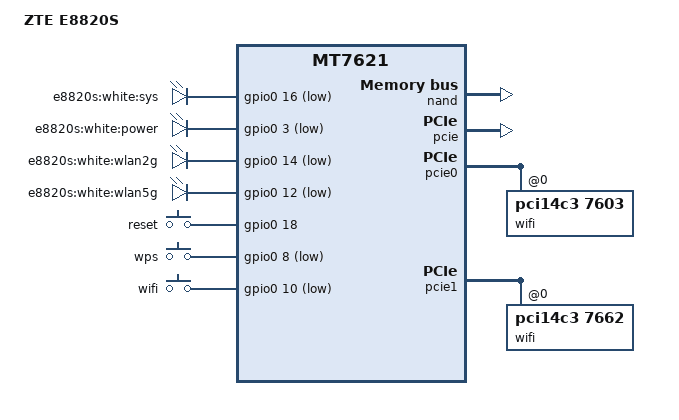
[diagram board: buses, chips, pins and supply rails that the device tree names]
/dts-v1/;

#include "mt7621.dtsi"

#include <dt-bindings/gpio/gpio.h>
#include <dt-bindings/input/input.h>

/ {
	compatible = "zte,e8820s", "mediatek,mt7621-soc";
	model = "ZTE E8820S";

	aliases {
		led-boot = &led_sys;
		led-failsafe = &led_sys;
		led-running = &led_power;
		led-upgrade = &led_power;
	};

	chosen {
		bootargs = "console=ttyS0,115200";
	};

	leds {
		compatible = "gpio-leds";

		led_sys: sys {
			label = "e8820s:white:sys";
			gpios = <&gpio0 16 GPIO_ACTIVE_LOW>;
		};

		led_power: power {
			label = "e8820s:white:power";
			gpios = <&gpio0 3 GPIO_ACTIVE_LOW>;                                       
		};

		wlan2g {
			label = "e8820s:white:wlan2g";
			gpios = <&gpio0 14 GPIO_ACTIVE_LOW>;
		};

		wlan5g {
			label = "e8820s:white:wlan5g";
			gpios = <&gpio0 12 GPIO_ACTIVE_LOW>;
		};
	};

	keys {
		compatible = "gpio-keys";

		reset {
			label = "reset";
			gpios = <&gpio0 18 GPIO_ACTIVE_HIGH>;
			linux,code = <KEY_RESTART>;
		};

		wps {
			label = "wps";
			gpios = <&gpio0 8 GPIO_ACTIVE_LOW>;
			linux,code = <KEY_WPS_BUTTON>;
		};

		wifi {
			label = "wifi";
			gpios = <&gpio0 10 GPIO_ACTIVE_LOW>;
			linux,code = <KEY_RFKILL>;
		};
	};

	ubi-concat {
		compatible = "mtd-concat";
		devices = <&ubipart0 &ubipart1>;

		partitions {
			compatible = "fixed-partitions";
			#address-cells = <1>;
			#size-cells = <1>;

			ubi@540000 {
				label = "ubi";
				reg = <0x0 0x79c0000>;
			};
		};
	};
};

&nand {
	status = "okay";

	partitions {
		compatible = "fixed-partitions";
		#address-cells = <1>;
		#size-cells = <1>;

		partition@0 {
			label = "u-boot";
			reg = <0x0 0x80000>;
			read-only;
		};

		partition@80000 {
			label = "debug";
			reg = <0x80000 0x80000>;
			read-only;
		};

		factory: partition@100000 {
			label = "factory";
			reg = <0x100000 0x40000>;
			read-only;
		};

		partition@140000 {
			label = "kernel";
			reg = <0x140000 0x400000>;
		};

		ubipart0: partition@540000 {
			label = "ubipart0";
			reg = <0x540000 0x1c80000>;
		};

		partition@21c0000 {
			label = "bdinfo";
			reg = <0x21c0000 0x80000>;
			read-only;
		};

		ubipart1: partition@2240000 {
			label = "ubipart1";
			reg = <0x2240000 0x5d40000>;
		};
	};
};

&pcie {
	status = "okay";
};

&pcie0 {
	wifi@0,0 {
		compatible = "pci14c3,7603";
		reg = <0x0000 0 0 0 0>;
		mediatek,mtd-eeprom = <&factory 0x0000>;
		ieee80211-freq-limit = <2400000 2500000>;
	};
};

&pcie1 {
	wifi@0,0 {
		compatible = "pci14c3,7662";
		reg = <0x0000 0 0 0 0>;
		mediatek,mtd-eeprom = <&factory 0x8000>;
		ieee80211-freq-limit = <5000000 6000000>;
	};
};

&ethernet {
	mtd-mac-address = <&factory 0xe000>;
	mediatek,portmap = "llllw";
};

&state_default {
	gpio {
		ralink,group = "jtag", "uart2", "uart3", "wdt";
		ralink,function = "gpio";
	};
};
